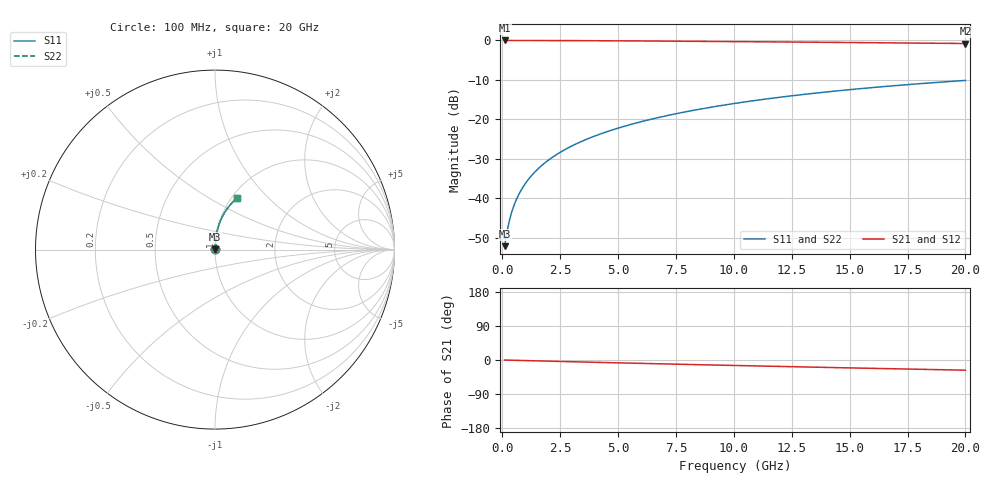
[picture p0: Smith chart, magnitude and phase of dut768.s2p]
! Touchstone file exported from HFSS 2024.1.0
!  File:  C:/UserFiles/LocalFiles/RDL_TSV_Batchsim/temp_RDL_top_768_1779852501.aedt
!  Generated:  11:30:54 AM May 27, 2026
!  Design:  RDL_top
!  Project:  temp_RDL_top_768_1779852501
!  Setup:  Setup1
!  Solution:  Sweep
! Variables:
!  dtsv = 10.80580581um
!  hbump = 3um
!  htsv = 86.71um
!  ldown = 100um
!  lrdl = 312.45um
!  p = 40
!  p1 = 57.75um
!  rhole = 1um
!  t = 450um
!  tdown = 3.915915916um
!  trdl = 3.48um
!  wdown = 15.38538539um
!  wrdl = 18.75um
# GHz S MA R 50.000000
! Terminal data exported
! Port[1] = Box2_T1
! Port[2] = Box2_T2
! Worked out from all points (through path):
!   200 points, 100 MHz to 20 GHz, reference 50 ohm
!   highest |S21| = -0.02 dB at 100 MHz (marker M1); lowest = -0.8 dB at 20 GHz (marker M2)
!   group delay of S21, straight-line fit = 3.71 ps
!   lowest |S11| = -52.1 dB at 100 MHz (marker M3), VSWR 1.00, Z = 50.2 + j0.161 ohm
!   |S11| at or under -10 dB: start of sweep to end of sweep
!   |S22| runs from -52.1 to -10.1 dB; largest |S21 - S12| = 3.3e-15
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0.1  0.002474 40.4  0.9981 -0.2  0.9981 -0.2  0.002474 40.4
! Gamma 0 0 0 0
! Port Impedance 50 0 50 0
0.2  0.003728 58.6  0.998 -0.3  0.998 -0.3  0.003728 58.6
0.3  0.005138 66.9  0.998 -0.5  0.998 -0.5  0.005138 66.9
0.4  0.006586 71.6  0.9979 -0.6  0.9979 -0.6  0.006586 71.6
0.5  0.008046 74.6  0.9978 -0.8  0.9978 -0.8  0.008046 74.6
0.6  0.009514 76.7  0.9977 -0.9  0.9977 -0.9  0.009515 76.7
0.8  0.01247 79.5  0.9975 -1.2  0.9975 -1.2  0.01247 79.5
1.1  0.01695 81.8  0.9972 -1.7  0.9972 -1.7  0.01695 81.8
1.5  0.02297 83.5  0.9967 -2.3  0.9967 -2.3  0.02297 83.5
1.8  0.02751 84.2  0.9962 -2.8  0.9962 -2.8  0.02751 84.2
2.1  0.03208 84.7  0.9957 -3.2  0.9957 -3.2  0.03208 84.7
2.7  0.04129 85.2  0.9944 -4.1  0.9944 -4.1  0.04129 85.2
3.5  0.05371 85.3  0.9923 -5.3  0.9923 -5.3  0.05371 85.3
4.2  0.0647 85.1  0.9902 -6.4  0.9902 -6.4  0.0647 85.1
5  0.07739 84.7  0.9874 -7.5  0.9874 -7.5  0.0774 84.7
5.9  0.09183 84.1  0.9839 -8.8  0.9839 -8.8  0.09183 84.1
6.8  0.1064 83.3  0.9802 -10.1  0.9802 -10.1  0.1064 83.3
8.4  0.1324 81.6  0.9732 -12.3  0.9732 -12.3  0.1324 81.6
10.1  0.1601 79.6  0.9652 -14.6  0.9652 -14.6  0.1601 79.6
13.4  0.2129 75.5  0.9489 -18.8  0.9489 -18.8  0.2129 75.5
16.7  0.2634 71.2  0.9315 -22.9  0.9315 -22.9  0.2635 71.3
20  0.311 67.1  0.9132 -26.9  0.9132 -26.9  0.311 67.1
